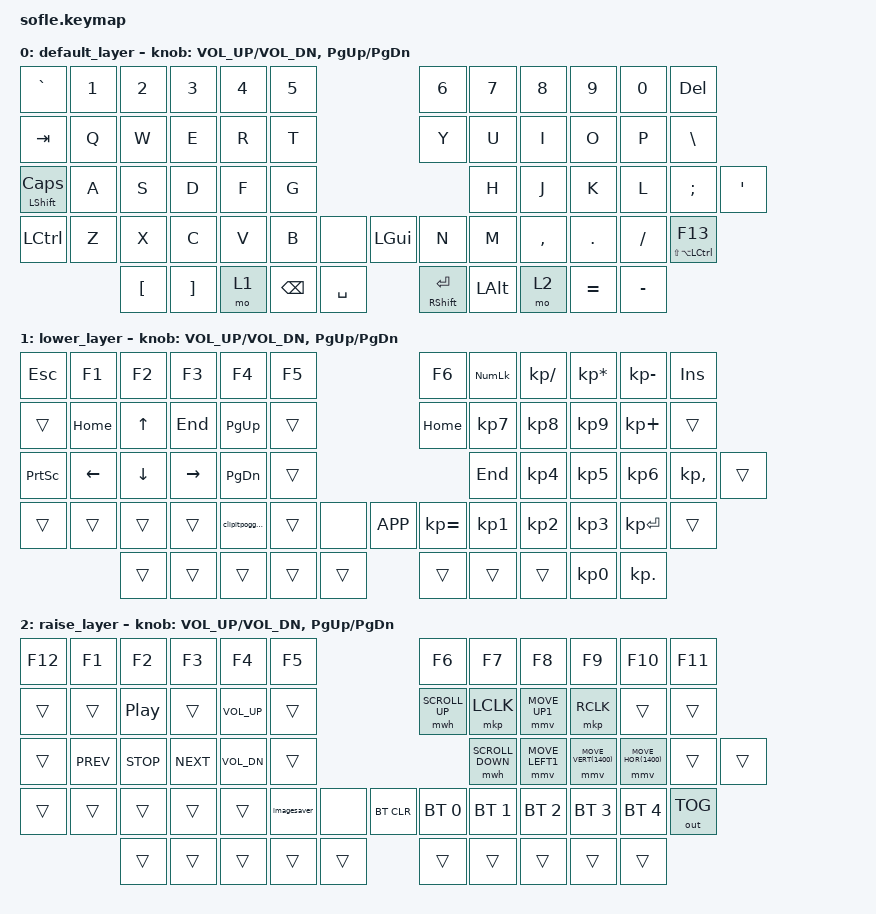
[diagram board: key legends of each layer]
/*
 * Copyright (c) 2020 The ZMK Contributors
 *
 * SPDX-License-Identifier: MIT
 */

#include <behaviors.dtsi>
#include <dt-bindings/zmk/keys.h>
#include <dt-bindings/zmk/bt.h>
#include <dt-bindings/zmk/outputs.h>
#include <dt-bindings/zmk/mouse.h>

#define MOVE_UP1 MOVE_VERT(-1400)
#define MOVE_DOWN1 MOVE_VERT(1400)
#define MOVE_LEFT1 MOVE_HOR(-1400)
#define MOVE_RIGHT1 MOVE_HOR(1400)

/ {
    macros {
        clipitpoggers: clipitpoggers {
            compatible = "zmk,behavior-macro";
            #wait-ms = <10>
            #binding-cells = <0>;
            bindings
                = <&macro_press &kp LALT>
                , <&macro_tap &kp C>
                , <&macro_release &kp LALT>
                ;
        };
        imagesaver: imagesaver {
            compatible = "zmk,behavior-macro";
            #wait-ms = <20>
            #binding-cells = <0>;
            bindings
                = <&macro_press &mkp RCLK>
                , <&macro_tap &kp V>
                , <&macro_pause_for_release>
                , <&macro_tap &kp RET>
                , <&macro_wait_time 250>
                , <&macro_press &mkp LCLK>
                ;
        };

    keymap {
        compatible = "zmk,keymap";

        default_layer {
// ------------------------------------------------------------------------------------------------------------
// |  `    |  1  |  2  |  3   |  4   |  5   |                   |  6   |  7    |  8    |  9   |   0   |  DEL  |
// |  TAB  |  Q  |  W  |  E   |  R   |  T   |                   |  Y   |  U    |  I    |  O   |   P   |   \   |
// | CAPS  |  A  |  S  |  D   |  F   |  G   |                   |  H   |  J    |  K    |  L   |   ;   |   '   |
// | CTRL  |  Z  |  X  |  C   |  V   |  B   |        |  |  GUI  |  N   |  M    |  ,    |  .   |   /   |  F13  |
//               |  [  |  ]   | LOWER| BKSPC|  SPACE |  | ENTER | LALT | RAISE |  =    |  -   |
            bindings = <
&kp GRAVE &kp N1 &kp N2   &kp N3   &kp N4    &kp N5                      &kp N6 &kp N7    &kp N8    &kp N9   &kp N0   &kp DEL
&kp TAB   &kp Q  &kp W    &kp E    &kp R     &kp T                       &kp Y  &kp U     &kp I     &kp O    &kp P    &kp BSLH
&mt LSHFT CAPS  &kp A  &kp S    &kp D    &kp F     &kp G                       &kp H  &kp J     &kp K     &kp L    &kp SEMI &kp SQT
&kp LCTRL &kp Z  &kp X    &kp C    &kp V     &kp B  &none      &kp LGUI  &kp N  &kp M     &kp COMMA &kp DOT  &kp FSLH &mt LS(LA(LCTRL)) F13
                 &kp LBKT &kp RBKT &mo 1     &kp BSPC &kp SPACE &mt RSHFT RET &kp LALT  &mo 2 &kp EQUAL  &kp MINUS
            >;

            sensor-bindings = <&inc_dec_kp C_VOL_UP C_VOL_DN &inc_dec_kp PG_UP PG_DN>;
        };

        lower_layer {
// TODO: Some binds are waiting for shifted keycode support.
// ------------------------------------------------------------------------------------------------------------
// |  ESC  |  F1 |  F2 |  F3  |  F4  |  F5  |                   |  F6  | NUMLCK|   /   |   *  |   -   |   INS |
// |       |HOME |  UP |  END | PGUP |      |                   | HOME |  7    |   8   |   9  |   +   |       |
// | PSCRN |LEFT | DOWN| RIGHT| PGDN |      |                   | END  |  4    |   5   |   6  |   ,   |       |
// |       |     |     |      | CLIP |      |        |  | MENU  |  =   |  1    |   2   |   3  | ENTER |       |
//               |     |      |      |      |        |  |       |      |       |   0   |   .  |
            bindings = <
&kp ESC   &kp F1   &kp F2    &kp F3      &kp F4    &kp F5                       &kp F6       &kp KP_NLCK &kp KP_SLASH &kp KP_MULTIPLY   &kp KP_MINUS  &kp INS 
&trans    &kp HOME &kp UP    &kp END   &kp PG_UP   &trans                       &kp HOME     &kp KP_N7 &kp KP_N8    &kp KP_N9         &kp KP_PLUS   &trans
&kp PSCRN &kp LEFT &kp DOWN  &kp RIGHT &kp PG_DN   &trans                       &kp END      &kp KP_N4 &kp KP_N5    &kp KP_N6         &kp KP_COMMA  &trans
&trans    &trans   &trans    &trans      &clipitpoggers    &trans    &none    &kp K_APP &kp KP_EQUAL &kp KP_N1 &kp KP_N2    &kp KP_N3         &kp KP_ENTER  &trans
                   &trans    &trans      &trans    &trans    &trans   &trans    &trans       &trans    &kp KP_N0    &kp KP_DOT 
            >;

            sensor-bindings = <&inc_dec_kp C_VOL_UP C_VOL_DN &inc_dec_kp PG_UP PG_DN>;
        };

        raise_layer {
// ------------------------------------------------------------------------------------------------------------
// | F12 | F1   | F2   |  F3   |  F4   |  F5  |                |  F6  |  F7  |  F8   |  F9  |  F10  |  F11  |
// |     |      | PLAY |       |VOL_UP |      |                |SCRLUP| LCLK |  MUP  | RCLK |       |       |
// |     |PREV  | STOP | NEXT  |VOL_DN |      |                |SCRLDN| MLFT |  MDN  | MRGT |       |       |
// |     |      |      |       |       | imgs |      |  |BT_CLR|BT_SEL|BT_SEL|BT_SEL |BT_SEL|BT_SEL |OUT_TOG|
//              |      |       |       |      |      |  |      |      |      |       |      |
            bindings = <
&kp F12    &kp F1       &kp F2       &kp F3       &kp F4       &kp F5                  &kp F6    &kp F7    &kp F8   &kp F9    &kp F10  &kp F11
&trans     &trans       &kp C_PP     &trans       &kp C_VOL_UP &trans                  &mwh SCROLL_UP   &mkp LCLK      &mmv MOVE_UP1    &mkp RCLK       &trans   &trans
&trans     &kp C_PREV   &kp C_STOP   &kp C_NEXT   &kp C_VOL_DN &trans                  &mwh SCROLL_DOWN &mmv MOVE_LEFT1 &mmv MOVE_DOWN1  &mmv MOVE_RIGHT1 &trans   &trans
&trans     &trans       &trans       &trans       &trans       &imagesaver  &none    &bt BT_CLR &bt BT_SEL 0   &bt BT_SEL 1    &bt BT_SEL 2   &bt BT_SEL 3    &bt BT_SEL 4   &out OUT_TOG
                        &trans       &trans       &trans       &trans  &trans   &trans  &trans    &trans    &trans   &trans
            >;

            sensor-bindings = <&inc_dec_kp C_VOL_UP C_VOL_DN &inc_dec_kp PG_UP PG_DN>;
        };
    };
};
